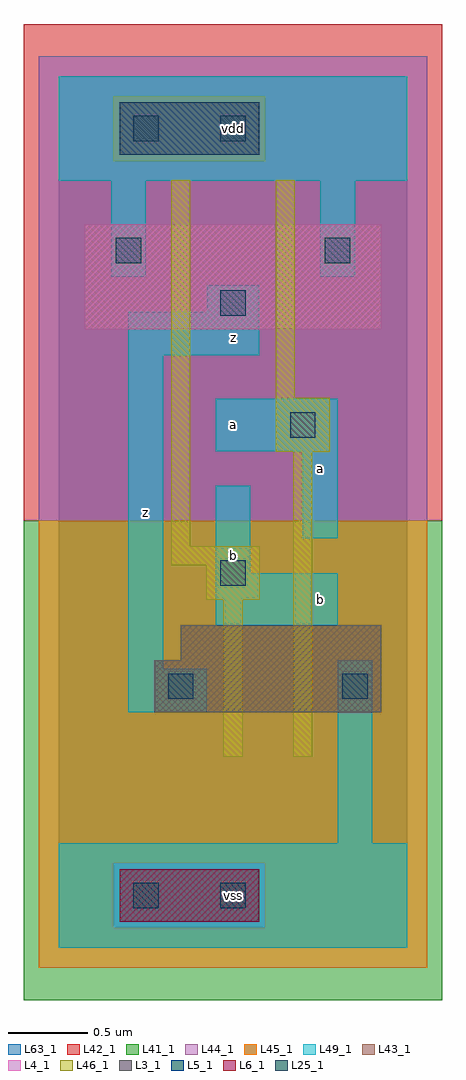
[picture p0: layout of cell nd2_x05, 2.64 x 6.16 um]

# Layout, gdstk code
import gdstk
lib = gdstk.Library(unit=1e-6, precision=1e-09)
def R(c, l, rs):  # rectangles x0, y0, x1, y1
    for r in rs: c.add(gdstk.rectangle(r[:2], r[2:], *l))
L3_1 = (3, 1)
L4_1 = (4, 1)
L5_1 = (5, 1)
L6_1 = (6, 1)
L25_1 = (25, 1)
L41_1 = (41, 1)
L42_1 = (42, 1)
L43_1 = (43, 1)
L44_1 = (44, 1)
L45_1 = (45, 1)
L46_1 = (46, 1)
L49_1 = (49, 1)
L63_1 = (63, 1)

nd2_x05 = lib.new_cell('nd2_x05')
R(nd2_x05, L3_1, [(0.605,1.485,2.035,1.815), (0.77,1.815,2.035,2.035)])
R(nd2_x05, L4_1, [(0.165,3.905,2.035,4.565)])
R(nd2_x05, L5_1, [(0.385,5.005,1.265,5.335)])
R(nd2_x05, L6_1, [(0.385,0.165,1.265,0.495)])
R(nd2_x05, L25_1, [(0.47,0.25,0.63,0.41), (1.02,0.25,1.18,0.41), (0.69,1.57,0.85,1.73), (1.79,1.57,1.95,1.73), (1.02,2.285,1.18,2.445), (1.46,3.22,1.62,3.38), (1.02,3.99,1.18,4.15), (0.36,4.32,0.52,4.48), (1.68,4.32,1.84,4.48), (0.47,5.09,0.63,5.25), (1.02,5.09,1.18,5.25)])
R(nd2_x05, L41_1, [(-0.22,-0.33,2.42,2.695)])
R(nd2_x05, L42_1, [(-0.22,2.695,2.42,5.83)])
R(nd2_x05, L43_1, [(0.385,0.165,1.265,0.495), (0.605,1.485,2.035,1.815), (0.77,1.815,2.035,2.035), (0.165,3.905,2.035,4.565), (0.385,5.005,1.265,5.335)])
R(nd2_x05, L44_1, [(0.345,0.125,1.305,0.535), (-0.125,2.695,2.325,4.965), (-0.125,4.965,0.345,5.375), (1.305,4.965,2.325,5.375), (-0.125,5.375,2.325,5.625)])
R(nd2_x05, L45_1, [(-0.125,-0.125,2.325,0.125), (-0.125,0.125,0.345,0.535), (1.305,0.125,2.325,0.535), (-0.125,0.535,2.325,2.695), (0.345,4.965,1.305,5.375)])
R(nd2_x05, L46_1, [(1.04,1.205,1.16,2.195), (1.48,1.205,1.6,3.13), (0.93,2.195,1.27,2.415), (0.71,2.415,1.27,2.535), (0.71,2.535,0.83,4.845), (1.37,3.13,1.71,3.47), (1.37,3.47,1.49,4.845)])
R(nd2_x05, L49_1, [(0,0,2.2,0.66), (1.76,0.66,1.98,1.815), (0.44,1.485,0.935,1.76), (0.44,1.76,0.66,3.74), (0.99,2.035,1.76,2.365), (0.99,2.365,1.21,2.915), (1.54,2.585,1.76,3.135), (0.99,3.135,1.76,3.465), (0.44,3.74,1.265,4.015), (0.935,4.015,1.265,4.18), (0.33,4.235,0.55,4.84), (1.65,4.235,1.87,4.84), (0,4.84,2.2,5.5)])
R(nd2_x05, L63_1, [(0,0,2.2,5.5)])
nd2_x05.add(gdstk.Label('z', (0.55,2.75), layer=49, texttype=1))
nd2_x05.add(gdstk.Label('z', (0.55,2.75), layer=49, texttype=1))
nd2_x05.add(gdstk.Label('vss', (1.1,0.33), layer=49, texttype=1))
nd2_x05.add(gdstk.Label('vss', (1.1,0.33), layer=49, texttype=1))
nd2_x05.add(gdstk.Label('b', (1.1,2.475), layer=49, texttype=1))
nd2_x05.add(gdstk.Label('b', (1.1,2.475), layer=49, texttype=1))
nd2_x05.add(gdstk.Label('a', (1.1,3.3), layer=49, texttype=1))
nd2_x05.add(gdstk.Label('z', (1.1,3.85), layer=49, texttype=1))
nd2_x05.add(gdstk.Label('a', (1.1,3.3), layer=49, texttype=1))
nd2_x05.add(gdstk.Label('z', (1.1,3.85), layer=49, texttype=1))
nd2_x05.add(gdstk.Label('vdd', (1.1,5.17), layer=49, texttype=1))
nd2_x05.add(gdstk.Label('vdd', (1.1,5.17), layer=49, texttype=1))
nd2_x05.add(gdstk.Label('b', (1.65,2.2), layer=49, texttype=1))
nd2_x05.add(gdstk.Label('b', (1.65,2.2), layer=49, texttype=1))
nd2_x05.add(gdstk.Label('a', (1.65,3.025), layer=49, texttype=1))
nd2_x05.add(gdstk.Label('a', (1.65,3.025), layer=49, texttype=1))

lib.write_gds('nd2_x05.gds')
